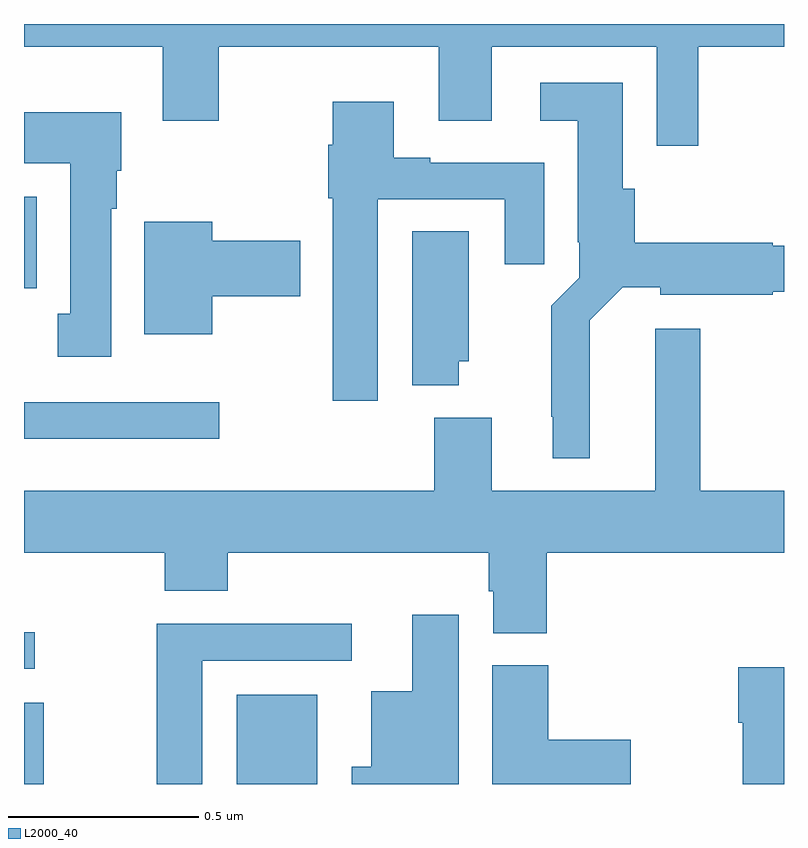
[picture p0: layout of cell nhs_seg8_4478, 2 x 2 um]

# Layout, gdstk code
import gdstk
lib = gdstk.Library(unit=1e-6, precision=1e-09)
def R(c, l, rs):  # rectangles x0, y0, x1, y1
    for r in rs: c.add(gdstk.rectangle(r[:2], r[2:], *l))
def P(c, l, *ps):  # polygons
    for p in ps: c.add(gdstk.Polygon(p, *l))
L2000_40 = (2000, 40)

nhs_seg8_4478 = lib.new_cell('nhs_seg8_4478')
R(nhs_seg8_4478, L2000_40, [(171,1107.9,171.052,1108.114), (171.56,1107.9,171.772,1108.135), (171,1108.203,171.028,1108.299), (171,1108.808,171.514,1108.905), (171,1109.204,171.034,1109.446)])
P(nhs_seg8_4478, L2000_40, [(171,1109.84),(171.365,1109.84),(171.365,1109.646),(171.513,1109.646),(171.513,1109.84),(172.091,1109.84),(172.091,1109.646),(172.231,1109.646),(172.231,1109.84),(172.665,1109.84),(172.665,1109.58),(172.774,1109.58),(172.774,1109.84),(173,1109.84),(173,1109.9),(171,1109.9)],
  [(172.489,1109.12),(172.575,1109.207),(172.674,1109.207),(172.674,1109.188),(172.971,1109.188),(172.971,1109.196),(173,1109.196),(173,1109.317),(172.971,1109.317),(172.971,1109.324),(172.607,1109.324),(172.607,1109.466),(172.576,1109.466),(172.576,1109.746),(172.359,1109.746),(172.359,1109.645),(172.457,1109.645),(172.457,1109.326),(172.461,1109.326),(172.461,1109.232),(172.387,1109.158),(172.387,1108.867),(172.391,1108.867),(172.391,1108.757),(172.489,1108.757)],
  [(171.931,1109.439),(172.265,1109.439),(172.265,1109.268),(172.369,1109.268),(172.369,1109.535),(172.069,1109.535),(172.069,1109.548),(171.973,1109.548),(171.973,1109.695),(171.812,1109.695),(171.812,1109.582),(171.8,1109.582),(171.8,1109.442),(171.812,1109.442),(171.812,1108.908),(171.931,1108.908)],
  [(171.229,1109.414),(171.244,1109.414),(171.244,1109.514),(171.256,1109.514),(171.256,1109.668),(171,1109.668),(171,1109.534),(171.122,1109.534),(171.122,1109.138),(171.089,1109.138),(171.089,1109.025),(171.229,1109.025)],
  [(171.496,1109.183),(171.727,1109.183),(171.727,1109.33),(171.496,1109.33),(171.496,1109.38),(171.317,1109.38),(171.317,1109.084),(171.496,1109.084)],
  [(172.144,1109.013),(172.171,1109.013),(172.171,1109.354),(172.022,1109.354),(172.022,1108.949),(172.144,1108.949)],
  [(172.376,1108.508),(173,1108.508),(173,1108.672),(172.779,1108.672),(172.779,1109.098),(172.661,1109.098),(172.661,1108.672),(172.231,1108.672),(172.231,1108.864),(172.079,1108.864),(172.079,1108.672),(171,1108.672),(171,1108.508),(171.371,1108.508),(171.371,1108.409),(171.536,1108.409),(171.536,1108.508),(172.223,1108.508),(172.223,1108.407),(172.235,1108.407),(172.235,1108.297),(172.376,1108.297)],
  [(172.144,1108.345),(172.022,1108.345),(172.022,1108.144),(171.914,1108.144),(171.914,1107.946),(171.863,1107.946),(171.863,1107.9),(172.144,1107.9)],
  [(171.469,1108.224),(171.862,1108.224),(171.862,1108.322),(171.349,1108.322),(171.349,1107.9),(171.469,1107.9)],
  [(172.597,1108.016),(172.379,1108.016),(172.379,1108.212),(172.232,1108.212),(172.232,1107.9),(172.597,1107.9)],
  [(173,1108.207),(172.88,1108.207),(172.88,1108.061),(172.892,1108.061),(172.892,1107.9),(173,1107.9)])

lib.write_gds('nhs_seg8_4478.gds')
